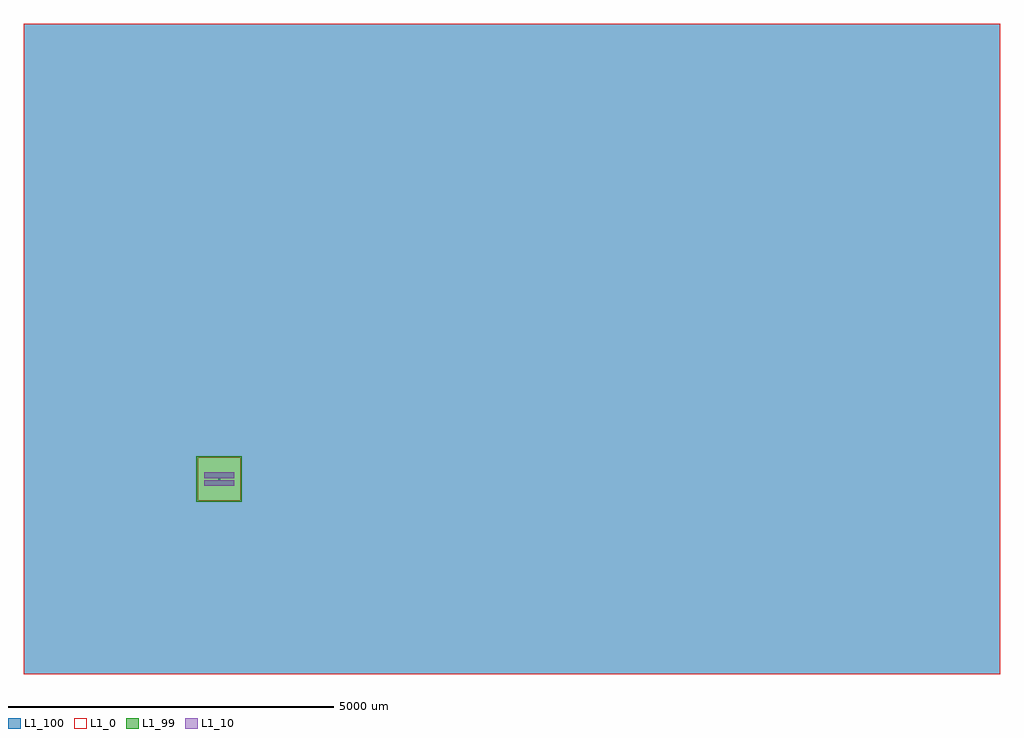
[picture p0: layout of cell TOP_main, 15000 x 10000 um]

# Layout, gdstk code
import gdstk
lib = gdstk.Library(unit=1e-6, precision=1e-09)
def R(c, l, rs):  # rectangles x0, y0, x1, y1
    for r in rs: c.add(gdstk.rectangle(r[:2], r[2:], *l))
def A(c, l, x, y, w, h, nx, ny, dx, dy):  # array of equal rectangles
    R(c, l, [(x+i*dx, y+j*dy, x+i*dx+w, y+j*dy+h) for i in range(nx) for j in range(ny)])
def P(c, l, *ps):  # polygons
    for p in ps: c.add(gdstk.Polygon(p, *l))
L1_0 = (1, 0)
L1_10 = (1, 10)
L1_99 = (1, 99)
L1_100 = (1, 100)

top_main_1 = lib.new_cell('TOP_main_1')
P(top_main_1, L1_0, [(12000,7000),(-3000,7000),(-3000,-325),(-325,-325),(-325,325),(325,325),(325,-325),(-325,-325),(-3000,-325),(-3000,-3000),(12000,-3000)])
P(top_main_1, L1_10, [(-227.5,15),(227.5,15),(227.5,105),(-227.5,105),(-227.5,15)],
  [(-227.5,-105),(227.5,-105),(227.5,-15),(-227.5,-15),(-227.5,-105)])

top_main_1_nocheese_99 = lib.new_cell('TOP_main_1_NoCheese_99')
P(top_main_1_nocheese_99, L1_99, [(-350,-350),(-350,350),(350,350),(350,-350),(-350,-350)])

top_main_1_one_hole = lib.new_cell('TOP_main_1_one_hole')
P(top_main_1_one_hole, L1_100, [(12.5,-12.5),(12.5,12.5),(-12.5,12.5),(-12.5,-12.5),(12.5,-12.5)])

top_main_1_cheese_diff = lib.new_cell('TOP_main_1_Cheese_diff')
A(top_main_1_cheese_diff, L1_100, -2812.5, -2812.5, 25, 25, 146, 25, 100, 100)
A(top_main_1_cheese_diff, L1_100, -2812.5, -312.5, 25, 25, 25, 7, 100, 100)
A(top_main_1_cheese_diff, L1_100, 387.5, -312.5, 25, 25, 114, 7, 100, 100)
A(top_main_1_cheese_diff, L1_100, -2812.5, 387.5, 25, 25, 146, 64, 100, 100)

top_main_1_cheese_100 = lib.new_cell('TOP_main_1_Cheese_100')
A(top_main_1_cheese_100, L1_100, -2812.5, -3000, 25, 187.5, 145, 1, 100, 0)
A(top_main_1_cheese_100, L1_100, -2787.5, -3000, 75, 10000, 24, 1, 100, 0)
A(top_main_1_cheese_100, L1_100, -287.5, -3000, 75, 2675, 6, 1, 100, 0)
A(top_main_1_cheese_100, L1_100, 412.5, -3000, 75, 10000, 113, 1, 100, 0)
A(top_main_1_cheese_100, L1_100, -2812.5, -2787.5, 25, 75, 145, 24, 100, 100)
A(top_main_1_cheese_100, L1_100, -2812.5, -387.5, 25, 75, 25, 8, 100, 100)
A(top_main_1_cheese_100, L1_100, -312.5, -387.5, 25, 62.5, 7, 2, 100, 712.5)
A(top_main_1_cheese_100, L1_100, 387.5, -387.5, 25, 75, 113, 8, 100, 100)
A(top_main_1_cheese_100, L1_100, -287.5, 325, 75, 6675, 6, 1, 100, 0)
A(top_main_1_cheese_100, L1_100, -2812.5, 412.5, 25, 75, 145, 63, 100, 100)
A(top_main_1_cheese_100, L1_100, -2812.5, 6712.5, 25, 287.5, 145, 1, 100, 0)
R(top_main_1_cheese_100, L1_100, [(-3000,-3000,-2812.5,7000), (-227.5,-105,227.5,-15), (-227.5,15,227.5,105)])
P(top_main_1_cheese_100, L1_100, [(-312.5,325),(-312.5,7000),(-387.5,7000),(-387.5,-3000),(-312.5,-3000),(-312.5,-325),(-325,-325),(-325,325)],
  [(325,325),(325,-325),(312.5,-325),(312.5,-3000),(387.5,-3000),(387.5,7000),(312.5,7000),(312.5,325)],
  [(12000,1987.5),(11687.5,1987.5),(11687.5,1912.5),(11712.5,1912.5),(11712.5,1887.5),(11687.5,1887.5),(11687.5,1812.5),(11712.5,1812.5),(11712.5,1787.5),(11687.5,1787.5),(11687.5,1712.5),(11712.5,1712.5),(11712.5,1687.5),(11687.5,1687.5),(11687.5,1612.5),(11712.5,1612.5),(11712.5,1587.5),(11687.5,1587.5),(11687.5,1512.5),(11712.5,1512.5),(11712.5,1487.5),(11687.5,1487.5),(11687.5,1412.5),(11712.5,1412.5),(11712.5,1387.5),(11687.5,1387.5),(11687.5,1312.5),(11712.5,1312.5),(11712.5,1287.5),(11687.5,1287.5),(11687.5,1212.5),(11712.5,1212.5),(11712.5,1187.5),(11687.5,1187.5),(11687.5,1112.5),(11712.5,1112.5),(11712.5,1087.5),(11687.5,1087.5),(11687.5,1012.5),(11712.5,1012.5),(11712.5,987.5),(11687.5,987.5),(11687.5,912.5),(11712.5,912.5),(11712.5,887.5),(11687.5,887.5),(11687.5,812.5),(11712.5,812.5),(11712.5,787.5),(11687.5,787.5),(11687.5,712.5),(11712.5,712.5),(11712.5,687.5),(11687.5,687.5),(11687.5,612.5),(11712.5,612.5),(11712.5,587.5),(11687.5,587.5),(11687.5,512.5),(11712.5,512.5),(11712.5,487.5),(11687.5,487.5),(11687.5,412.5),(11712.5,412.5),(11712.5,387.5),(11687.5,387.5),(11687.5,312.5),(11712.5,312.5),(11712.5,287.5),(11687.5,287.5),(11687.5,212.5),(11712.5,212.5),(11712.5,187.5),(11687.5,187.5),(11687.5,112.5),(11712.5,112.5),(11712.5,87.5),(11687.5,87.5),(11687.5,12.5),(11712.5,12.5),(11712.5,-12.5),(11687.5,-12.5),(11687.5,-87.5),(11712.5,-87.5),(11712.5,-112.5),(11687.5,-112.5),(11687.5,-187.5),(11712.5,-187.5),(11712.5,-212.5),(11687.5,-212.5),(11687.5,-287.5),(11712.5,-287.5),(11712.5,-312.5),(11687.5,-312.5),(11687.5,-387.5),(11712.5,-387.5),(11712.5,-412.5),(11687.5,-412.5),(11687.5,-487.5),(11712.5,-487.5),(11712.5,-512.5),(11687.5,-512.5),(11687.5,-587.5),(11712.5,-587.5),(11712.5,-612.5),(11687.5,-612.5),(11687.5,-687.5),(11712.5,-687.5),(11712.5,-712.5),(11687.5,-712.5),(11687.5,-787.5),(11712.5,-787.5),(11712.5,-812.5),(11687.5,-812.5),(11687.5,-887.5),(11712.5,-887.5),(11712.5,-912.5),(11687.5,-912.5),(11687.5,-987.5),(11712.5,-987.5),(11712.5,-1012.5),(11687.5,-1012.5),(11687.5,-1087.5),(11712.5,-1087.5),(11712.5,-1112.5),(11687.5,-1112.5),(11687.5,-1187.5),(11712.5,-1187.5),(11712.5,-1212.5),(11687.5,-1212.5),(11687.5,-1287.5),(11712.5,-1287.5),(11712.5,-1312.5),(11687.5,-1312.5),(11687.5,-1387.5),(11712.5,-1387.5),(11712.5,-1412.5),(11687.5,-1412.5),(11687.5,-1487.5),(11712.5,-1487.5),(11712.5,-1512.5),(11687.5,-1512.5),(11687.5,-1587.5),(11712.5,-1587.5),(11712.5,-1612.5),(11687.5,-1612.5),(11687.5,-1687.5),(11712.5,-1687.5),(11712.5,-1712.5),(11687.5,-1712.5),(11687.5,-1787.5),(11712.5,-1787.5),(11712.5,-1812.5),(11687.5,-1812.5),(11687.5,-1887.5),(11712.5,-1887.5),(11712.5,-1912.5),(11687.5,-1912.5),(11687.5,-1987.5),(11712.5,-1987.5),(11712.5,-2012.5),(11687.5,-2012.5),(11687.5,-2087.5),(11712.5,-2087.5),(11712.5,-2112.5),(11687.5,-2112.5),(11687.5,-2187.5),(11712.5,-2187.5),(11712.5,-2212.5),(11687.5,-2212.5),(11687.5,-2287.5),(11712.5,-2287.5),(11712.5,-2312.5),(11687.5,-2312.5),(11687.5,-2387.5),(11712.5,-2387.5),(11712.5,-2412.5),(11687.5,-2412.5),(11687.5,-2487.5),(11712.5,-2487.5),(11712.5,-2512.5),(11687.5,-2512.5),(11687.5,-2587.5),(11712.5,-2587.5),(11712.5,-2612.5),(11687.5,-2612.5),(11687.5,-2687.5),(11712.5,-2687.5),(11712.5,-2712.5),(11687.5,-2712.5),(11687.5,-2787.5),(11712.5,-2787.5),(11712.5,-2812.5),(11687.5,-2812.5),(11687.5,-3000),(12000,-3000)],
  [(12000,7000),(11687.5,7000),(11687.5,6712.5),(11712.5,6712.5),(11712.5,6687.5),(11687.5,6687.5),(11687.5,6612.5),(11712.5,6612.5),(11712.5,6587.5),(11687.5,6587.5),(11687.5,6512.5),(11712.5,6512.5),(11712.5,6487.5),(11687.5,6487.5),(11687.5,6412.5),(11712.5,6412.5),(11712.5,6387.5),(11687.5,6387.5),(11687.5,6312.5),(11712.5,6312.5),(11712.5,6287.5),(11687.5,6287.5),(11687.5,6212.5),(11712.5,6212.5),(11712.5,6187.5),(11687.5,6187.5),(11687.5,6112.5),(11712.5,6112.5),(11712.5,6087.5),(11687.5,6087.5),(11687.5,6012.5),(11712.5,6012.5),(11712.5,5987.5),(11687.5,5987.5),(11687.5,5912.5),(11712.5,5912.5),(11712.5,5887.5),(11687.5,5887.5),(11687.5,5812.5),(11712.5,5812.5),(11712.5,5787.5),(11687.5,5787.5),(11687.5,5712.5),(11712.5,5712.5),(11712.5,5687.5),(11687.5,5687.5),(11687.5,5612.5),(11712.5,5612.5),(11712.5,5587.5),(11687.5,5587.5),(11687.5,5512.5),(11712.5,5512.5),(11712.5,5487.5),(11687.5,5487.5),(11687.5,5412.5),(11712.5,5412.5),(11712.5,5387.5),(11687.5,5387.5),(11687.5,5312.5),(11712.5,5312.5),(11712.5,5287.5),(11687.5,5287.5),(11687.5,5212.5),(11712.5,5212.5),(11712.5,5187.5),(11687.5,5187.5),(11687.5,5112.5),(11712.5,5112.5),(11712.5,5087.5),(11687.5,5087.5),(11687.5,5012.5),(11712.5,5012.5),(11712.5,4987.5),(11687.5,4987.5),(11687.5,4912.5),(11712.5,4912.5),(11712.5,4887.5),(11687.5,4887.5),(11687.5,4812.5),(11712.5,4812.5),(11712.5,4787.5),(11687.5,4787.5),(11687.5,4712.5),(11712.5,4712.5),(11712.5,4687.5),(11687.5,4687.5),(11687.5,4612.5),(11712.5,4612.5),(11712.5,4587.5),(11687.5,4587.5),(11687.5,4512.5),(11712.5,4512.5),(11712.5,4487.5),(11687.5,4487.5),(11687.5,4412.5),(11712.5,4412.5),(11712.5,4387.5),(11687.5,4387.5),(11687.5,4312.5),(11712.5,4312.5),(11712.5,4287.5),(11687.5,4287.5),(11687.5,4212.5),(11712.5,4212.5),(11712.5,4187.5),(11687.5,4187.5),(11687.5,4112.5),(11712.5,4112.5),(11712.5,4087.5),(11687.5,4087.5),(11687.5,4012.5),(11712.5,4012.5),(11712.5,3987.5),(11687.5,3987.5),(11687.5,3912.5),(11712.5,3912.5),(11712.5,3887.5),(11687.5,3887.5),(11687.5,3812.5),(11712.5,3812.5),(11712.5,3787.5),(11687.5,3787.5),(11687.5,3712.5),(11712.5,3712.5),(11712.5,3687.5),(11687.5,3687.5),(11687.5,3612.5),(11712.5,3612.5),(11712.5,3587.5),(11687.5,3587.5),(11687.5,3512.5),(11712.5,3512.5),(11712.5,3487.5),(11687.5,3487.5),(11687.5,3412.5),(11712.5,3412.5),(11712.5,3387.5),(11687.5,3387.5),(11687.5,3312.5),(11712.5,3312.5),(11712.5,3287.5),(11687.5,3287.5),(11687.5,3212.5),(11712.5,3212.5),(11712.5,3187.5),(11687.5,3187.5),(11687.5,3112.5),(11712.5,3112.5),(11712.5,3087.5),(11687.5,3087.5),(11687.5,3012.5),(11712.5,3012.5),(11712.5,2987.5),(11687.5,2987.5),(11687.5,2912.5),(11712.5,2912.5),(11712.5,2887.5),(11687.5,2887.5),(11687.5,2812.5),(11712.5,2812.5),(11712.5,2787.5),(11687.5,2787.5),(11687.5,2712.5),(11712.5,2712.5),(11712.5,2687.5),(11687.5,2687.5),(11687.5,2612.5),(11712.5,2612.5),(11712.5,2587.5),(11687.5,2587.5),(11687.5,2512.5),(11712.5,2512.5),(11712.5,2487.5),(11687.5,2487.5),(11687.5,2412.5),(11712.5,2412.5),(11712.5,2387.5),(11687.5,2387.5),(11687.5,2312.5),(11712.5,2312.5),(11712.5,2287.5),(11687.5,2287.5),(11687.5,2212.5),(11712.5,2212.5),(11712.5,2187.5),(11687.5,2187.5),(11687.5,2112.5),(11712.5,2112.5),(11712.5,2087.5),(11687.5,2087.5),(11687.5,2012.5),(11712.5,2012.5),(11712.5,1987.5),(12000,1987.5)])

top_main = lib.new_cell('TOP_main')
top_main.add(gdstk.Reference(top_main_1, (0,0)))
top_main.add(gdstk.Reference(top_main_1_nocheese_99, (0,0)))
top_main.add(gdstk.Reference(top_main_1_one_hole, (0,0)))
top_main.add(gdstk.Reference(top_main_1_cheese_diff, (0,0)))
top_main.add(gdstk.Reference(top_main_1_cheese_100, (0,0)))

lib.write_gds('TOP_main.gds')
